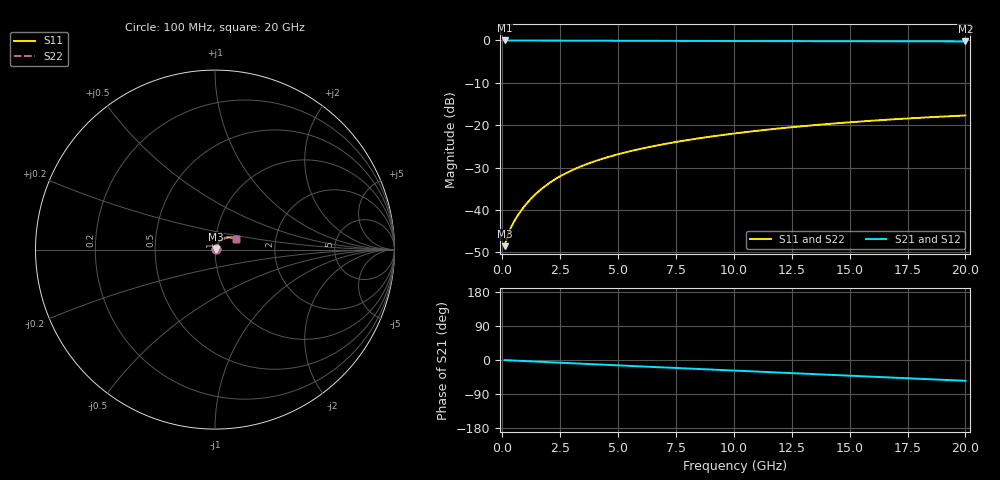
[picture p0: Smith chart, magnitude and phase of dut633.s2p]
! Touchstone file exported from HFSS 2026.1.0
!  File:  C:/ffzhzh/LocalFiles/Ansys_Project_Files/temp_train_BSMRDL_633_1783016611_53980.aedt
!  Generated:  02:24:55 AM Jul  3, 2026
!  Design:  BSMRDL
!  Project:  temp_train_BSMRDL_633_1783016611_53980
! Variables:
!  h_bsmrdl = 5.16um
!  h_ox = 20um
!  h_rdl = 5um
!  h_sub = 80um
!  h_tmrdl = 5um
!  h_tsv = 80um
!  h_via = 3um
!  l_bsmrdl = 981.29um
!  l_sub = 1381.29um
!  l_tmrdl = 200um
!  m_sub = 200um
!  pitch = 29.79um
!  r_tsv = 6um
!  s_tmrdl = 10um
!  w_bsmrdl = 21.83um
!  w_sub = 500um
!  w_tmrdl = 12um
!  x_tsv_center1 = 206um
!  x_tsv_center2 = 1209.12um
!  x_tsv_center3 = 1421.12um
!  x_tsv_center4 = 2424.24um
!  x_tsv_center5 = 2636.24um
!  x_tsv_center6 = 3639.36um
# GHz S MA R 50.000000
! Terminal data exported
! Port[1] = BSM_RDL1_1_T1
! Port[2] = BSM_RDL1_1_T2
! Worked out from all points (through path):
!   200 points, 100 MHz to 20 GHz, reference 50 ohm
!   highest |S21| = -0.03 dB at 100 MHz (marker M1); lowest = -0.3 dB at 20 GHz (marker M2)
!   group delay of S21, straight-line fit = 7.59 ps
!   lowest |S11| = -48.6 dB at 100 MHz (marker M3), VSWR 1.01, Z = 50.3 + j0.157 ohm
!   |S11| at or under -10 dB: start of sweep to end of sweep
!   |S22| runs from -48.6 to -17.7 dB; largest |S21 - S12| = 2.6e-15
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0.1  0.003734 24.6  0.9966 -0.3  0.9966 -0.3  0.003734 24.6
! Gamma 0 0 0 0
! Port Impedance 50 0 50 0
0.2  0.004735 35.5  0.9962 -0.6  0.9962 -0.6  0.004735 35.5
0.3  0.005629 41.3  0.9958 -0.9  0.9958 -0.9  0.005629 41.3
0.5  0.007229 49.3  0.9954 -1.5  0.9954 -1.5  0.007229 49.3
0.7  0.008853 55.1  0.9952 -2.1  0.9952 -2.1  0.008853 55.1
0.9  0.01056 59.2  0.995 -2.6  0.995 -2.6  0.01056 59.2
1.3  0.01412 63.8  0.9946 -3.8  0.9946 -3.8  0.01412 63.8
1.5  0.01594 65.1  0.9943 -4.3  0.9943 -4.3  0.01594 65.1
1.8  0.01866 66.2  0.9939 -5.2  0.9939 -5.2  0.01866 66.2
2.3  0.02316 66.7  0.9931 -6.6  0.9931 -6.6  0.02316 66.8
2.9  0.02841 66.4  0.9921 -8.3  0.9921 -8.3  0.02841 66.4
3.5  0.03347 65.5  0.9911 -10.0  0.9911 -10.0  0.03347 65.5
4.2  0.03913 64.1  0.9898 -12.0  0.9898 -12.0  0.03913 64.1
5  0.04532 62.4  0.9884 -14.2  0.9884 -14.2  0.04532 62.4
5.9  0.05199 60.4  0.987 -16.7  0.987 -16.7  0.05199 60.4
6.8  0.0584 58.4  0.9856 -19.1  0.9856 -19.1  0.05839 58.4
8.3  0.06862 55.0  0.9835 -23.2  0.9835 -23.2  0.06861 55.0
10.1  0.0802 50.8  0.9811 -28.2  0.9811 -28.2  0.08018 50.9
11.7  0.08988 47.0  0.9791 -32.5  0.9791 -32.5  0.08986 47.1
13.4  0.09953 42.9  0.9771 -37.1  0.9771 -37.1  0.09949 43.1
16.7  0.1162 34.9  0.9735 -46.0  0.9735 -46.0  0.1161 35.1
20  0.1299 26.7  0.9702 -54.9  0.9702 -54.9  0.1298 26.9
